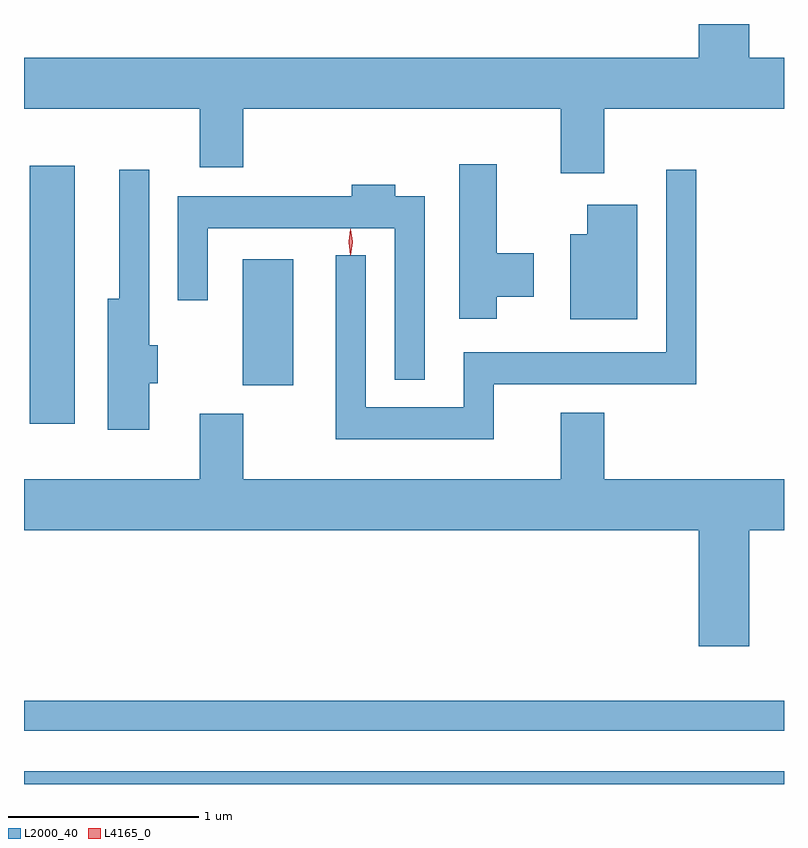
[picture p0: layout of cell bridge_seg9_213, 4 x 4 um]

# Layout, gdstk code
import gdstk
lib = gdstk.Library(unit=1e-6, precision=1e-09)
def R(c, l, rs):  # rectangles x0, y0, x1, y1
    for r in rs: c.add(gdstk.rectangle(r[:2], r[2:], *l))
def P(c, l, *ps):  # polygons
    for p in ps: c.add(gdstk.Polygon(p, *l))
L2000_40 = (2000, 40)
L4165_0 = (4165, 0)

bridge_seg9_213 = lib.new_cell('bridge_seg9_213')
R(bridge_seg9_213, L2000_40, [(1490.246,2001.581,1494.246,2001.649), (1490.246,2001.861,1494.246,2002.019), (1490.276,2003.476,1490.514,2004.834), (1491.396,2003.681,1491.664,2004.344)])
P(bridge_seg9_213, L2000_40, [(1493.299,2005.136),(1494.246,2005.136),(1494.246,2005.404),(1494.064,2005.404),(1494.064,2005.581),(1493.796,2005.581),(1493.796,2005.404),(1490.246,2005.404),(1490.246,2005.136),(1491.171,2005.136),(1491.171,2004.826),(1491.399,2004.826),(1491.399,2005.136),(1493.071,2005.136),(1493.071,2004.796),(1493.299,2004.796)],
  [(1492.734,2004.146),(1492.929,2004.146),(1492.929,2004.374),(1492.734,2004.374),(1492.734,2004.844),(1492.536,2004.844),(1492.536,2004.031),(1492.734,2004.031)],
  [(1492.719,2003.686),(1493.784,2003.686),(1493.784,2004.813),(1493.626,2004.813),(1493.626,2003.854),(1492.561,2003.854),(1492.561,2003.564),(1492.044,2003.564),(1492.044,2004.363),(1491.886,2004.363),(1491.886,2003.396),(1492.719,2003.396)],
  [(1490.904,2003.691),(1490.949,2003.691),(1490.949,2003.889),(1490.904,2003.889),(1490.904,2004.813),(1490.746,2004.813),(1490.746,2004.134),(1490.686,2004.134),(1490.686,2003.446),(1490.904,2003.446)],
  [(1492.354,2004.674),(1492.199,2004.674),(1492.199,2004.734),(1491.971,2004.734),(1491.971,2004.674),(1491.056,2004.674),(1491.056,2004.128),(1491.214,2004.128),(1491.214,2004.506),(1492.196,2004.506),(1492.196,2003.708),(1492.354,2003.708)],
  [(1493.474,2004.629),(1493.211,2004.629),(1493.211,2004.474),(1493.121,2004.474),(1493.121,2004.026),(1493.474,2004.026)],
  [(1494.064,2002.916),(1494.246,2002.916),(1494.246,2003.184),(1493.299,2003.184),(1493.299,2003.534),(1493.071,2003.534),(1493.071,2003.184),(1491.399,2003.184),(1491.399,2003.529),(1491.171,2003.529),(1491.171,2003.184),(1490.246,2003.184),(1490.246,2002.916),(1493.796,2002.916),(1493.796,2002.306),(1494.064,2002.306)])
P(bridge_seg9_213, L4165_0, [(1491.964,2004.367),(1491.955,2004.434),(1491.964,2004.5),(1491.965,2004.501),(1491.965,2004.5),(1491.975,2004.434),(1491.965,2004.367),(1491.965,2004.367)],
  [(1491.964,2004.364),(1491.955,2004.433),(1491.964,2004.502),(1491.965,2004.503),(1491.965,2004.502),(1491.975,2004.433),(1491.965,2004.364),(1491.965,2004.364)])

lib.write_gds('bridge_seg9_213.gds')
